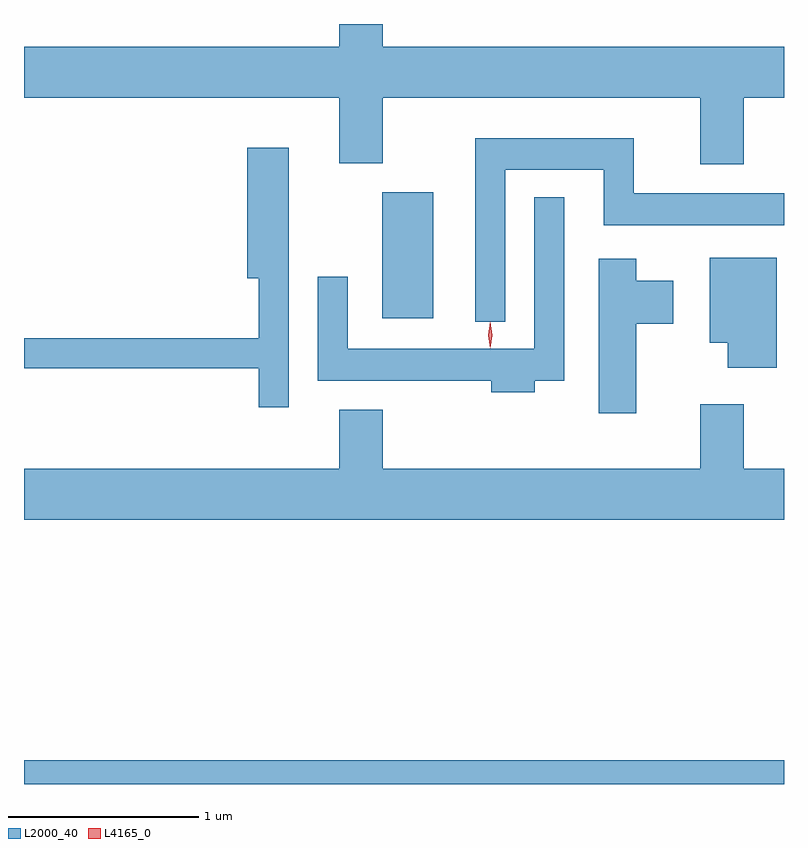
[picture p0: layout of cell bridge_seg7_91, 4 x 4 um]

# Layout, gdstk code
import gdstk
lib = gdstk.Library(unit=1e-6, precision=1e-09)
def R(c, l, rs):  # rectangles x0, y0, x1, y1
    for r in rs: c.add(gdstk.rectangle(r[:2], r[2:], *l))
def P(c, l, *ps):  # polygons
    for p in ps: c.add(gdstk.Polygon(p, *l))
L2000_40 = (2000, 40)
L4165_0 = (4165, 0)

bridge_seg7_91 = lib.new_cell('bridge_seg7_91')
R(bridge_seg7_91, L2000_40, [(1596.441,1799.504,1600.441,1799.629), (1598.326,1801.956,1598.594,1802.619)])
P(bridge_seg7_91, L2000_40, [(1600.229,1803.116),(1600.441,1803.116),(1600.441,1803.384),(1598.329,1803.384),(1598.329,1803.504),(1598.101,1803.504),(1598.101,1803.384),(1596.441,1803.384),(1596.441,1803.116),(1598.101,1803.116),(1598.101,1802.771),(1598.329,1802.771),(1598.329,1803.116),(1600.001,1803.116),(1600.001,1802.766),(1600.229,1802.766)],
  [(1598.974,1802.736),(1599.491,1802.736),(1599.491,1802.446),(1600.441,1802.446),(1600.441,1802.614),(1599.649,1802.614),(1599.649,1802.904),(1598.816,1802.904),(1598.816,1801.938),(1598.974,1801.938)],
  [(1597.834,1802.854),(1597.616,1802.854),(1597.616,1802.166),(1597.676,1802.166),(1597.676,1801.849),(1596.441,1801.849),(1596.441,1801.691),(1597.676,1801.691),(1597.676,1801.488),(1597.834,1801.488)],
  [(1599.129,1801.626),(1599.284,1801.626),(1599.284,1802.593),(1599.126,1802.593),(1599.126,1801.794),(1598.144,1801.794),(1598.144,1802.173),(1597.986,1802.173),(1597.986,1801.626),(1598.901,1801.626),(1598.901,1801.566),(1599.129,1801.566)],
  [(1600.404,1802.274),(1600.051,1802.274),(1600.051,1801.826),(1600.146,1801.826),(1600.146,1801.696),(1600.404,1801.696)],
  [(1599.664,1801.926),(1599.859,1801.926),(1599.859,1802.154),(1599.664,1802.154),(1599.664,1802.269),(1599.466,1802.269),(1599.466,1801.456),(1599.664,1801.456)],
  [(1600.441,1801.164),(1600.229,1801.164),(1600.229,1801.504),(1600.001,1801.504),(1600.001,1801.164),(1598.329,1801.164),(1598.329,1801.474),(1598.101,1801.474),(1598.101,1801.164),(1596.441,1801.164),(1596.441,1800.896),(1600.441,1800.896)])
P(bridge_seg7_91, L4165_0, [(1598.894,1801.797),(1598.885,1801.866),(1598.894,1801.936),(1598.895,1801.936),(1598.896,1801.936),(1598.905,1801.866),(1598.896,1801.797),(1598.895,1801.797)])

lib.write_gds('bridge_seg7_91.gds')
